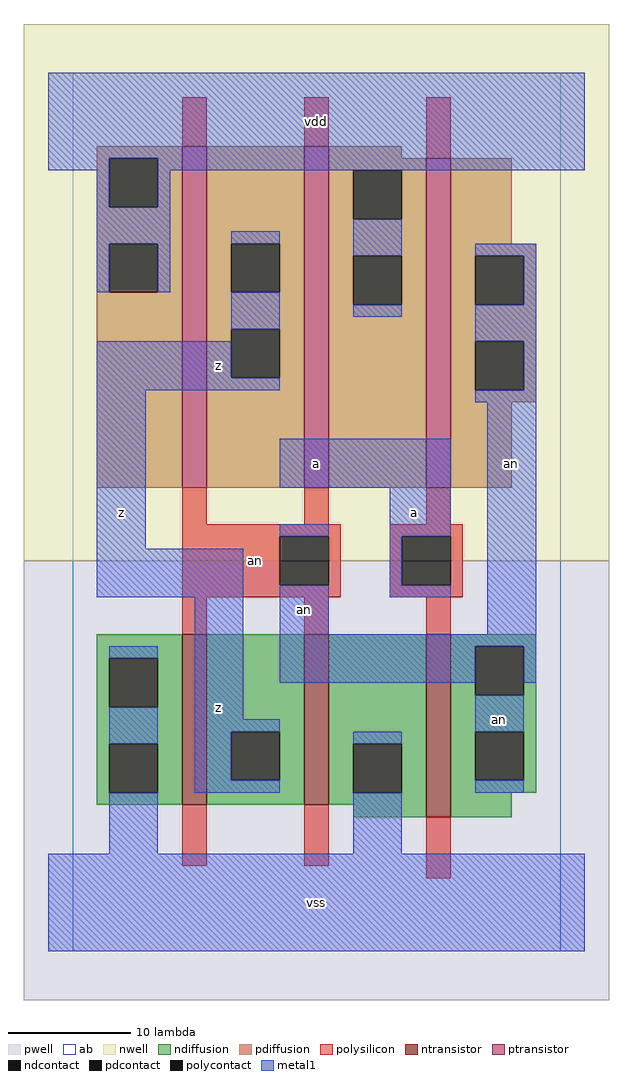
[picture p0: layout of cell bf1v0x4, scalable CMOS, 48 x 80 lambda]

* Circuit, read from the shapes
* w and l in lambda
.subckt bf1v0x4 a an vdd vss z
M1 z an vss VSUBS nfet w=14 l=2 m=2
M2 an a vss VSUBS nfet w=15 l=2
M3 z an vdd n1 pfet w=28 l=2 m=2
M4 an a vdd n1 pfet w=27 l=2
.ends

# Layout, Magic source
magic
tech scmos
<< ab >>
rect 0 0 40 72
<< pwell >>
rect -4 -4 44 32
<< nwell >>
rect -4 32 44 76
<< polysilicon >>
rect 9 66 11 70
rect 19 66 21 70
rect 29 65 31 70
rect 9 35 11 38
rect 19 35 21 38
rect 29 35 31 38
rect 9 34 22 35
rect 9 30 17 34
rect 21 30 22 34
rect 9 29 22 30
rect 26 34 32 35
rect 26 30 27 34
rect 31 30 32 34
rect 26 29 32 30
rect 9 26 11 29
rect 19 26 21 29
rect 29 26 31 29
rect 9 7 11 12
rect 19 7 21 12
rect 29 6 31 11
<< ndiffusion >>
rect 2 24 9 26
rect 2 20 3 24
rect 7 20 9 24
rect 2 17 9 20
rect 2 13 3 17
rect 7 13 9 17
rect 2 12 9 13
rect 11 18 19 26
rect 11 14 13 18
rect 17 14 19 18
rect 11 12 19 14
rect 21 17 29 26
rect 21 13 23 17
rect 27 13 29 17
rect 21 12 29 13
rect 23 11 29 12
rect 31 25 38 26
rect 31 21 33 25
rect 37 21 38 25
rect 31 18 38 21
rect 31 14 33 18
rect 37 14 38 18
rect 31 13 38 14
rect 31 11 36 13
<< pdiffusion >>
rect 2 65 9 66
rect 2 61 3 65
rect 7 61 9 65
rect 2 58 9 61
rect 2 54 3 58
rect 7 54 9 58
rect 2 38 9 54
rect 11 58 19 66
rect 11 54 13 58
rect 17 54 19 58
rect 11 51 19 54
rect 11 47 13 51
rect 17 47 19 51
rect 11 38 19 47
rect 21 65 27 66
rect 21 64 29 65
rect 21 60 23 64
rect 27 60 29 64
rect 21 57 29 60
rect 21 53 23 57
rect 27 53 29 57
rect 21 38 29 53
rect 31 58 36 65
rect 31 57 38 58
rect 31 53 33 57
rect 37 53 38 57
rect 31 50 38 53
rect 31 46 33 50
rect 37 46 38 50
rect 31 45 38 46
rect 31 38 36 45
<< metal1 >>
rect -2 65 42 72
rect -2 64 3 65
rect 2 61 3 64
rect 7 64 42 65
rect 7 61 8 64
rect 2 58 8 61
rect 2 54 3 58
rect 7 54 8 58
rect 13 58 17 59
rect 13 51 17 54
rect 23 57 27 60
rect 23 52 27 53
rect 33 57 38 58
rect 37 53 38 57
rect 2 47 13 50
rect 2 46 17 47
rect 33 50 38 53
rect 37 46 38 50
rect 2 33 6 46
rect 33 45 38 46
rect 17 38 31 42
rect 17 34 21 35
rect 2 29 14 33
rect 3 24 7 25
rect 3 17 7 20
rect 10 19 14 29
rect 17 26 21 30
rect 26 34 31 38
rect 26 30 27 34
rect 26 29 31 30
rect 34 26 38 45
rect 17 25 38 26
rect 17 22 33 25
rect 37 22 38 25
rect 10 18 17 19
rect 33 18 37 21
rect 10 14 13 18
rect 10 13 17 14
rect 23 17 27 18
rect 33 13 37 14
rect 3 8 7 13
rect 23 8 27 13
rect -2 0 42 8
<< ntransistor >>
rect 9 12 11 26
rect 19 12 21 26
rect 29 11 31 26
<< ptransistor >>
rect 9 38 11 66
rect 19 38 21 66
rect 29 38 31 65
<< polycontact >>
rect 17 30 21 34
rect 27 30 31 34
<< ndcontact >>
rect 3 20 7 24
rect 3 13 7 17
rect 13 14 17 18
rect 23 13 27 17
rect 33 21 37 25
rect 33 14 37 18
<< pdcontact >>
rect 3 61 7 65
rect 3 54 7 58
rect 13 54 17 58
rect 13 47 17 51
rect 23 60 27 64
rect 23 53 27 57
rect 33 53 37 57
rect 33 46 37 50
<< labels >>
rlabel polysilicon 15 32 15 32 6 an
rlabel metal1 4 36 4 36 6 z
rlabel metal1 12 20 12 20 6 z
rlabel metal1 12 48 12 48 6 z
rlabel metal1 20 4 20 4 6 vss
rlabel metal1 19 28 19 28 6 an
rlabel metal1 28 36 28 36 6 a
rlabel metal1 20 40 20 40 6 a
rlabel metal1 20 68 20 68 6 vdd
rlabel metal1 35 19 35 19 6 an
rlabel metal1 36 40 36 40 6 an
<< end >>
